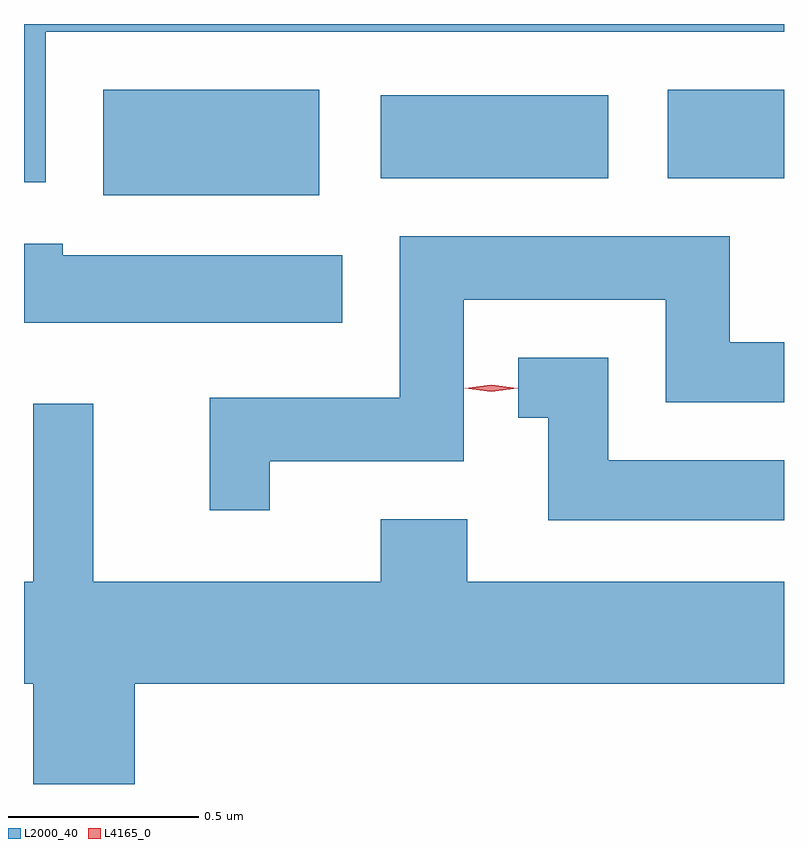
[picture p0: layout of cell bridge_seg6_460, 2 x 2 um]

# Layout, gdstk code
import gdstk
lib = gdstk.Library(unit=1e-6, precision=1e-09)
def R(c, l, rs):  # rectangles x0, y0, x1, y1
    for r in rs: c.add(gdstk.rectangle(r[:2], r[2:], *l))
def P(c, l, *ps):  # polygons
    for p in ps: c.add(gdstk.Polygon(p, *l))
L2000_40 = (2000, 40)
L4165_0 = (4165, 0)

bridge_seg6_460 = lib.new_cell('bridge_seg6_460')
R(bridge_seg6_460, L2000_40, [(814.661,1640.121,815.229,1640.399), (815.391,1640.166,815.989,1640.384), (816.146,1640.166,816.452,1640.399)])
P(bridge_seg6_460, L2000_40, [(814.509,1640.551),(816.452,1640.551),(816.452,1640.572),(814.452,1640.572),(814.452,1640.156),(814.509,1640.156)],
  [(815.099,1639.421),(815.609,1639.421),(815.609,1639.846),(816.141,1639.846),(816.141,1639.576),(816.452,1639.576),(816.452,1639.734),(816.309,1639.734),(816.309,1640.014),(815.441,1640.014),(815.441,1639.589),(814.941,1639.589),(814.941,1639.293),(815.099,1639.293)],
  [(815.289,1639.964),(814.554,1639.964),(814.554,1639.994),(814.452,1639.994),(814.452,1639.786),(815.289,1639.786)],
  [(816.452,1639.424),(815.989,1639.424),(815.989,1639.694),(815.753,1639.694),(815.753,1639.536),(815.831,1639.536),(815.831,1639.266),(816.452,1639.266)],
  [(814.744,1638.836),(816.452,1638.836),(816.452,1639.104),(815.619,1639.104),(815.619,1639.269),(815.391,1639.269),(815.391,1639.104),(814.634,1639.104),(814.634,1639.573),(814.476,1639.573),(814.476,1639.104),(814.452,1639.104),(814.452,1638.836),(814.476,1638.836),(814.476,1638.572),(814.744,1638.572)])
P(bridge_seg6_460, L4165_0, [(815.681,1639.604),(815.612,1639.613),(815.612,1639.614),(815.612,1639.614),(815.681,1639.623),(815.751,1639.614),(815.751,1639.613),(815.751,1639.613)])

lib.write_gds('bridge_seg6_460.gds')
